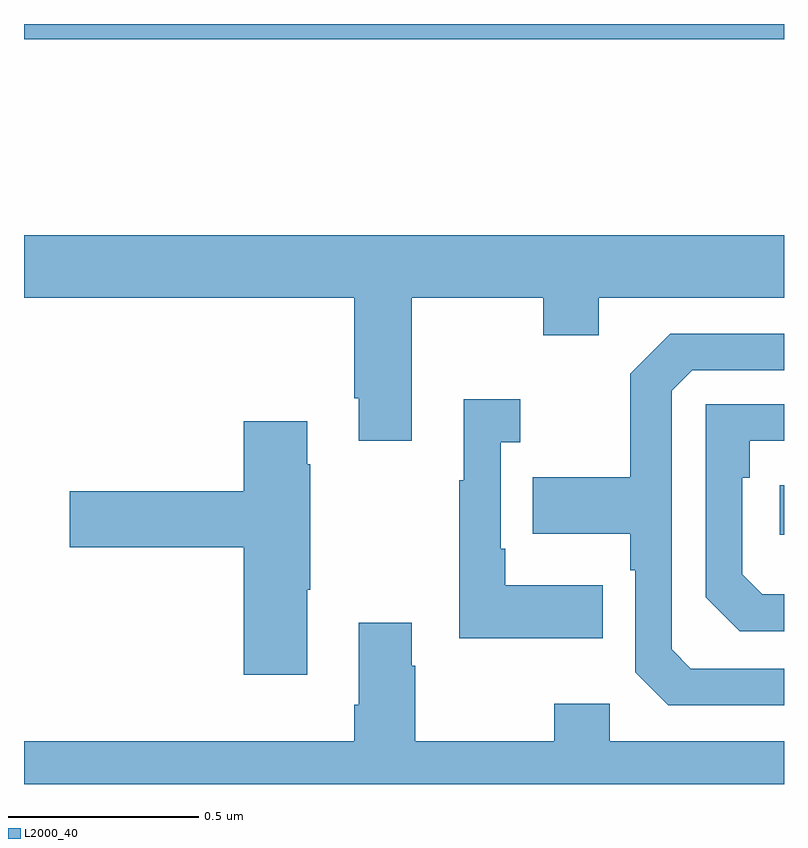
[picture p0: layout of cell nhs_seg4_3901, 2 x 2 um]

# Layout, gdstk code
import gdstk
lib = gdstk.Library(unit=1e-6, precision=1e-09)
def R(c, l, rs):  # rectangles x0, y0, x1, y1
    for r in rs: c.add(gdstk.rectangle(r[:2], r[2:], *l))
def P(c, l, *ps):  # polygons
    for p in ps: c.add(gdstk.Polygon(p, *l))
L2000_40 = (2000, 40)

nhs_seg4_3901 = lib.new_cell('nhs_seg4_3901')
R(nhs_seg4_3901, L2000_40, [(160.989,769.556,161,769.686), (159,770.86,161,770.9)])
P(nhs_seg4_3901, L2000_40, [(160.021,770.18),(160.366,770.18),(160.366,770.081),(160.513,770.081),(160.513,770.18),(161,770.18),(161,770.344),(159,770.344),(159,770.18),(159.869,770.18),(159.869,769.915),(159.881,769.915),(159.881,769.803),(160.021,769.803)],
  [(161,769.203),(160.755,769.203),(160.704,769.254),(160.704,769.935),(160.758,769.989),(161,769.989),(161,770.085),(160.701,770.085),(160.596,769.979),(160.596,769.707),(160.339,769.707),(160.339,769.559),(160.596,769.559),(160.596,769.463),(160.608,769.463),(160.608,769.194),(160.695,769.107),(161,769.107)],
  [(160.523,769.423),(160.267,769.423),(160.267,769.519),(160.254,769.519),(160.254,769.799),(160.306,769.799),(160.306,769.912),(160.157,769.912),(160.157,769.699),(160.146,769.699),(160.146,769.283),(160.523,769.283)],
  [(161,769.399),(160.943,769.399),(160.89,769.452),(160.89,769.706),(160.91,769.706),(160.91,769.803),(161,769.803),(161,769.899),(160.794,769.899),(160.794,769.392),(160.884,769.302),(161,769.302)],
  [(159.745,769.411),(159.753,769.411),(159.753,769.742),(159.745,769.742),(159.745,769.855),(159.578,769.855),(159.578,769.67),(159.12,769.67),(159.12,769.523),(159.578,769.523),(159.578,769.188),(159.745,769.188)],
  [(161,769.012),(160.542,769.012),(160.542,769.111),(160.396,769.111),(160.396,769.012),(160.029,769.012),(160.029,769.211),(160.021,769.211),(160.021,769.324),(159.881,769.324),(159.881,769.108),(159.869,769.108),(159.869,769.012),(159,769.012),(159,768.9),(161,768.9)])

lib.write_gds('nhs_seg4_3901.gds')
